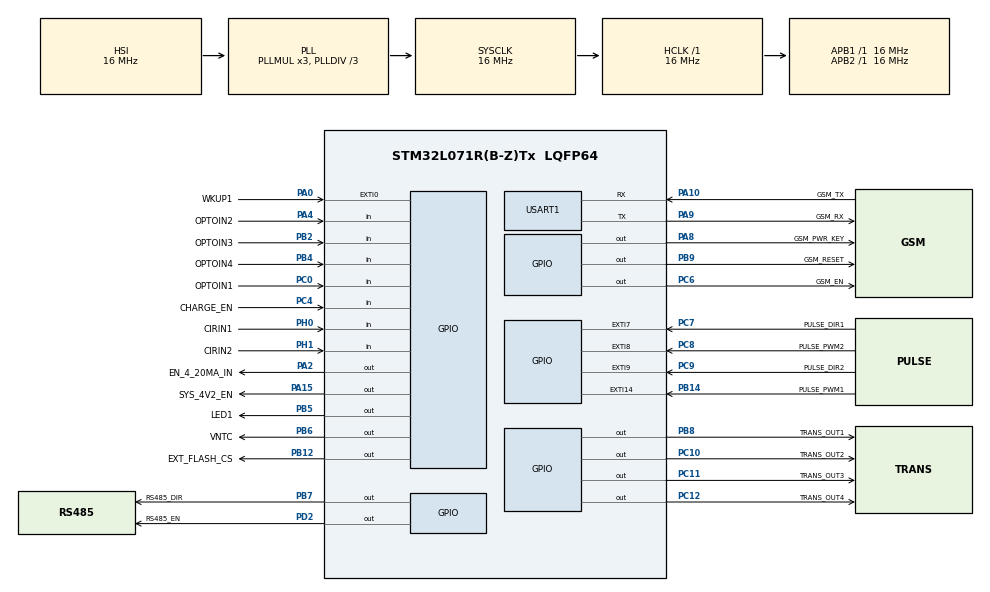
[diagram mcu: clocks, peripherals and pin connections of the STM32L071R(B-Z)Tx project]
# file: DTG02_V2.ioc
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Dma.Request0=USART1_RX
Dma.Request1=USART1_TX
Dma.USART1_RX.0.Direction=DMA_PERIPH_TO_MEMORY
Dma.USART1_RX.0.Instance=DMA1_Channel3
Dma.USART1_RX.0.MemDataAlignment=DMA_MDATAALIGN_BYTE
Dma.USART1_RX.0.MemInc=DMA_MINC_ENABLE
Dma.USART1_RX.0.Mode=DMA_CIRCULAR
Dma.USART1_RX.0.PeriphDataAlignment=DMA_PDATAALIGN_BYTE
Dma.USART1_RX.0.PeriphInc=DMA_PINC_DISABLE
Dma.USART1_RX.0.Priority=DMA_PRIORITY_LOW
Dma.USART1_TX.1.Direction=DMA_MEMORY_TO_PERIPH
Dma.USART1_TX.1.Instance=DMA1_Channel2
Dma.USART1_TX.1.MemDataAlignment=DMA_MDATAALIGN_BYTE
Dma.USART1_TX.1.MemInc=DMA_MINC_ENABLE
Dma.USART1_TX.1.Mode=DMA_NORMAL
Dma.USART1_TX.1.PeriphDataAlignment=DMA_PDATAALIGN_BYTE
Dma.USART1_TX.1.PeriphInc=DMA_PINC_DISABLE
Dma.USART1_TX.1.Priority=DMA_PRIORITY_LOW
IWDG.Prescaler=IWDG_PRESCALER_256
Mcu.Family=STM32L0
Mcu.Name=STM32L071R(B-Z)Tx
Mcu.Package=LQFP64
NVIC.DMA1_Channel2_3_IRQn=true\:0\:0\:false\:false\:true\:false\:true
NVIC.EXTI0_1_IRQn=true\:0\:0\:false\:false\:true\:true\:true
NVIC.EXTI4_15_IRQn=true\:0\:0\:false\:false\:true\:true\:true
NVIC.USART1_IRQn=true\:0\:0\:false\:false\:true\:true\:true
PA0.GPIO_Label=WKUP1
PA0.GPIO_ModeDefaultEXTI=GPIO_MODE_IT_FALLING
PA0.Signal=GPXTI0
PA1.GPIO_Label=ADC_24V
PA1.Signal=ADC_IN1
PA10.GPIO_Label=GSM_TX
PA10.Mode=Asynchronous
PA10.Signal=USART1_RX
PA13.Mode=Serial_Wire
PA13.Signal=SYS_SWDIO
PA14.Mode=Serial_Wire
PA14.Signal=SYS_SWCLK
PA15.GPIO_Label=SYS_4V2_EN
PA15.PinState=GPIO_PIN_SET
PA15.Signal=GPIO_Output
PA2.GPIO_Label=EN_4_20MA_IN
PA2.Signal=GPIO_Output
PA3.GPIO_Label=OUTPUT_4_20MA_PWM
PA3.Signal=S_TIM2_CH4
PA4.GPIO_Label=OPTOIN2
PA4.Signal=GPIO_Input
PA5.GPIO_Label=ADC_4_20MA_IN3
PA5.Signal=ADC_IN5
PA6.GPIO_Label=ADC_4_20MA_IN3
PA6.Signal=ADC_IN6
PA7.GPIO_Label=ADC_4_20MA_IN1
PA7.Signal=ADC_IN7
PA8.GPIO_Label=GSM_PWR_KEY
PA8.GPIO_Speed=GPIO_SPEED_FREQ_LOW
PA8.Signal=GPIO_Output
PA9.GPIO_Label=GSM_RX
PA9.Mode=Asynchronous
PA9.Signal=USART1_TX
PB10.GPIO_Label=RS485_RX
PB10.Signal=LPUART1_RX
PB11.GPIO_Label=RS485_TX
PB11.Signal=LPUART1_TX
PB12.GPIO_Label=EXT_FLASH_CS
PB12.GPIO_Speed=GPIO_SPEED_FREQ_LOW
PB12.PinState=GPIO_PIN_SET
PB12.Signal=GPIO_Output
PB14.GPIO_Label=PULSE_PWM1
PB14.Signal=GPXTI14
PB2.GPIO_Label=OPTOIN3
PB2.Signal=GPIO_Input
PB4.GPIO_Label=OPTOIN4
PB4.Signal=GPIO_Input
PB5.GPIO_Label=LED1
PB5.Signal=GPIO_Output
PB6.GPIO_Label=VNTC
PB6.Signal=GPIO_Output
PB7.GPIO_Label=RS485_DIR
PB7.Signal=GPIO_Output
PB8.GPIO_Label=TRANS_OUT1
PB8.Signal=GPIO_Output
PB9.GPIO_Label=GSM_RESET
PB9.Signal=GPIO_Output
PC0.GPIO_Label=OPTOIN1
PC0.Signal=GPIO_Input
PC1.GPIO_Label=ADC_VBAT
PC1.Signal=ADC_IN11
PC10.GPIO_Label=TRANS_OUT2
PC10.Signal=GPIO_Output
PC11.GPIO_Label=TRANS_OUT3
PC11.Signal=GPIO_Output
PC12.GPIO_Label=TRANS_OUT4
PC12.Signal=GPIO_Output
PC2.GPIO_Label=EXT_FLASH_MISO
PC2.Signal=SPI2_MISO
PC3.GPIO_Label=ADC_4_20MA_IN4
PC3.Signal=ADC_IN13
PC4.GPIO_Label=CHARGE_EN
PC4.Signal=GPIO_Input
PC5.GPIO_Label=ADC_VTEMP
PC5.Signal=ADC_IN15
PC6.GPIO_Label=GSM_EN
PC6.Signal=GPIO_Output
PC7.GPIO_Label=PULSE_DIR1
PC7.Signal=GPXTI7
PC8.GPIO_Label=PULSE_PWM2
PC8.GPIO_ModeDefaultEXTI=GPIO_MODE_IT_FALLING
PC8.Signal=GPXTI8
PC9.GPIO_Label=PULSE_DIR2
PC9.Signal=GPXTI9
PD2.GPIO_Label=RS485_EN
PD2.Signal=GPIO_Output
PH0-OSC_IN.GPIO_Label=CIRIN1
PH0-OSC_IN.Signal=GPIO_Input
PH1-OSC_OUT.GPIO_Label=CIRIN2
PH1-OSC_OUT.Signal=GPIO_Input
ProjectManager.HeapSize=0x200
ProjectManager.StackSize=0x400
ProjectManager.TargetToolchain=MDK-ARM V5.32
RCC.AHBFreq_Value=16000000
RCC.APB1Freq_Value=16000000
RCC.APB1TimFreq_Value=16000000
RCC.APB2Freq_Value=16000000
RCC.APB2TimFreq_Value=16000000
RCC.HCLKFreq_Value=16000000
RCC.HSE_VALUE=8000000
RCC.HSI16_VALUE=16000000
RCC.HSI_VALUE=16000000
RCC.MSIClockRange=RCC_MSIRANGE_6
RCC.MSI_VALUE=4194000
RCC.PLLDIV=RCC_PLLDIV_3
RCC.RTCClockSelection=RCC_RTCCLKSOURCE_LSE
RCC.RTCClockSelectionVirtual=RCC_RTCCLKSOURCE_LSE
RCC.SYSCLKFreq_VALUE=16000000
RCC.SYSCLKSource=RCC_SYSCLKSOURCE_PLLCLK
RCC.VCOOutputFreq_Value=48000000
SH.S_TIM2_CH4.0=TIM2_CH4
USART1.VirtualMode-Asynchronous=VM_ASYNC
VP_IWDG_VS_IWDG.Mode=IWDG_Activate
board=custom

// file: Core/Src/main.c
/* USER CODE BEGIN Header */
/**
  ******************************************************************************
  * @file           : main.c
  * @brief          : Main program body
  ******************************************************************************
  * @attention
  *
  * <h2><center>&copy; Copyright (c) 2021 STMicroelectronics.
  * All rights reserved.</center></h2>
  *
  * This software component is licensed by ST under BSD 3-Clause license,
  * the "License"; You may not use this file except in compliance with the
  * License. You may obtain a copy of the License at:
  *                        opensource.org/licenses/BSD-3-Clause
  *
  ******************************************************************************
  */
/* USER CODE END Header */
#include "main.h"
#include "dma.h"
#include "iwdg.h"
#include "usart.h"
#include "gpio.h"

/* USER CODE BEGIN Includes */
#include "app_eeprom.h"
#include "measure_input.h"
#include "lpf.h"
#include "stdbool.h"
#include "app_cli.h"
#include "app_wdt.h"
#include "app_sync.h"
#include "hardware_manager.h"
#include "app_bkup.h"
#include "control_output.h"
#include "gsm.h"
#include "hardware.h"
#include "modbus_master.h"
#include "string.h"
#include "sys_ctx.h"
#include "app_rtc.h"
#include "app_debug.h"
#include "app_spi_flash.h"
#include "ota_update.h"
#include "flash_if.h"
#include "version_control.h"
#include "utilities.h"
#include "umm_malloc.h"
#include "jig.h"
/* USER CODE END Includes */

/* USER CODE BEGIN PD */
#define WAKEUP_RESET_WDT_IN_LOW_POWER_MODE            28000    // ( ~16s)
#define DEBUG_LOW_POWER                                 1
#define DISABLE_GPIO_ENTER_LOW_POWER_MODE               0
#define TEST_POWER_ALWAYS_TURN_OFF_GSM                  0
#define TEST_OUTPUT_4_20MA                              0
#define TEST_RS485                                      0
#define TEST_INPUT_4_20_MA                              0
#define TEST_BACKUP_REGISTER                            0
#define TEST_DEVICE_NEVER_SLEEP							0
#define TEST_CRC32										0
#define CLI_ENABLE                                      1
#define GSM_ENABLE										1
typedef  void (*p_func)(void);
p_func jump_to_application;
uint32_t m_jump_addr;
/* USER CODE END PD */

void SystemClock_Config(void);

/* USER CODE BEGIN 0 */
/* memory for ummalloc */
/* USER CODE END 0 */

int main(void)
{

  /* MCU Configuration--------------------------------------------------------*/

  /* Reset of all peripherals, Initializes the Flash interface and the Systick. */
  HAL_Init();

  /* USER CODE BEGIN Init */
	__enable_irq();

  /* USER CODE END Init */

  /* Configure the system clock */
  SystemClock_Config();

  /* Initialize all configured peripherals */
  MX_GPIO_Init();
  MX_IWDG_Init();
  MX_DMA_Init();
  MX_USART1_UART_Init();
  /* USER CODE BEGIN 2 */
    ENABLE_INPUT_4_20MA_POWER(0);
    RS485_POWER_EN(0);
    LED1(0);

    ota_flash_cfg_t cfg;
	memcpy(&cfg, (ota_flash_cfg_t*)OTA_INFO_START_ADDR, sizeof(ota_flash_cfg_t));
    if (cfg.flag != OTA_FLAG_UPDATE_NEW_FW)
	{

        __disable_irq();
		if (((*(__IO uint32_t*)APPLICATION_START_ADDR) & 0x2FFE0000) == 0x20000000)
		{
			/* Jump to user application */
			m_jump_addr = *(__IO uint32_t*) (APPLICATION_START_ADDR + 4);
			jump_to_application = (p_func) m_jump_addr;
			/* Initialize user application's Stack Pointer */
			__set_MSP(*(__IO uint32_t*) APPLICATION_START_ADDR);
			jump_to_application();
		}
        while (1)
        {
            NVIC_SystemReset();
        }
	}
	else
	{
        gsm_init_hw();
	}
  /* USER CODE END 2 */

  /* Infinite loop */
  while (1)
  {

    /* USER CODE BEGIN 3 */
#if GSM_ENABLE
	gsm_hw_layer_run();
#endif

#if USE_SYNC_DRV
	app_sync_polling_task();
#else
      static volatile uint32_t m_last_tick = 0;
      if (sys_get_ms() - m_last_tick >= (uint32_t)1000)
      {
          m_last_tick = sys_get_ms();
          gsm_mnr_task(NULL);
      }
#endif /* USE_SYNC_DRV */

#ifdef WDT_ENABLE
    LL_IWDG_ReloadCounter(IWDG);
#endif

  }
  /* USER CODE END 3 */
}

void SystemClock_Config(void)
{
  RCC_OscInitTypeDef RCC_OscInitStruct = {0};
  RCC_ClkInitTypeDef RCC_ClkInitStruct = {0};
  RCC_PeriphCLKInitTypeDef PeriphClkInit = {0};

  /** Configure the main internal regulator output voltage
  */
  __HAL_PWR_VOLTAGESCALING_CONFIG(PWR_REGULATOR_VOLTAGE_SCALE1);
  /** Initializes the RCC Oscillators according to the specified parameters
  * in the RCC_OscInitTypeDef structure.
  */
  RCC_OscInitStruct.OscillatorType = RCC_OSCILLATORTYPE_HSI|RCC_OSCILLATORTYPE_LSI;
  RCC_OscInitStruct.HSIState = RCC_HSI_ON;
  RCC_OscInitStruct.HSICalibrationValue = RCC_HSICALIBRATION_DEFAULT;
  RCC_OscInitStruct.LSIState = RCC_LSI_ON;
  RCC_OscInitStruct.PLL.PLLState = RCC_PLL_ON;
  RCC_OscInitStruct.PLL.PLLSource = RCC_PLLSOURCE_HSI;
  RCC_OscInitStruct.PLL.PLLMUL = RCC_PLLMUL_3;
  RCC_OscInitStruct.PLL.PLLDIV = RCC_PLLDIV_3;
  if (HAL_RCC_OscConfig(&RCC_OscInitStruct) != HAL_OK)
  {
    Error_Handler();
  }
  /** Initializes the CPU, AHB and APB buses clocks
  */
  RCC_ClkInitStruct.ClockType = RCC_CLOCKTYPE_HCLK|RCC_CLOCKTYPE_SYSCLK
                              |RCC_CLOCKTYPE_PCLK1|RCC_CLOCKTYPE_PCLK2;
  RCC_ClkInitStruct.SYSCLKSource = RCC_SYSCLKSOURCE_PLLCLK;
  RCC_ClkInitStruct.AHBCLKDivider = RCC_SYSCLK_DIV1;
  RCC_ClkInitStruct.APB1CLKDivider = RCC_HCLK_DIV1;
  RCC_ClkInitStruct.APB2CLKDivider = RCC_HCLK_DIV1;

  if (HAL_RCC_ClockConfig(&RCC_ClkInitStruct, FLASH_LATENCY_0) != HAL_OK)
  {
    Error_Handler();
  }
  PeriphClkInit.PeriphClockSelection = RCC_PERIPHCLK_USART1;
  PeriphClkInit.Usart1ClockSelection = RCC_USART1CLKSOURCE_PCLK2;
  if (HAL_RCCEx_PeriphCLKConfig(&PeriphClkInit) != HAL_OK)
  {
    Error_Handler();
  }
}

/* USER CODE BEGIN 4 */
uint32_t sys_get_ms()
{
	return uwTick;
}

void sys_delay_ms(uint32_t ms)
{
	uint32_t current_tick = HAL_GetTick();

	while (1)
	{
#ifdef WDT_ENABLE
        LL_IWDG_ReloadCounter(IWDG);
#endif
//		__WFI();	// hardfault when exit from stopmode
		if (HAL_GetTick() - current_tick >= (uint32_t)ms)
		{
			break;
		}
	}
}

/* USER CODE END 4 */

void Error_Handler(void)
{
  /* USER CODE BEGIN Error_Handler_Debug */
  /* User can add his own implementation to report the HAL error return state */
	__disable_irq();
	NVIC_SystemReset();
  while (1)
  {
  }
  /* USER CODE END Error_Handler_Debug */
}

/************************ (C) COPYRIGHT STMicroelectronics *****END OF FILE****/
